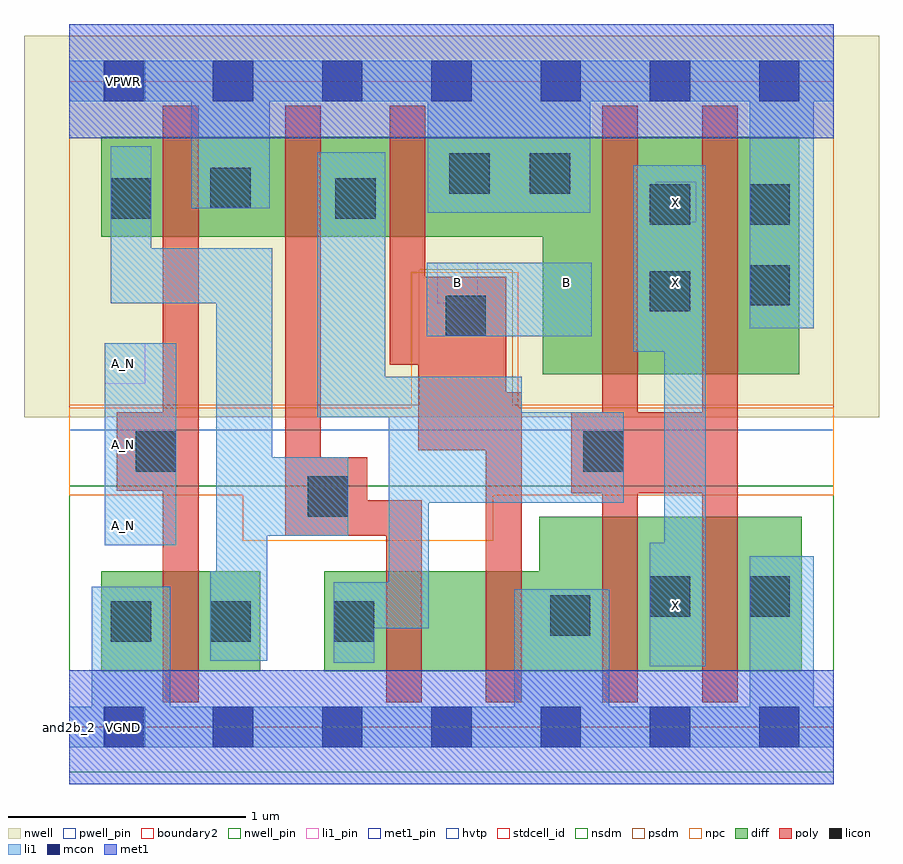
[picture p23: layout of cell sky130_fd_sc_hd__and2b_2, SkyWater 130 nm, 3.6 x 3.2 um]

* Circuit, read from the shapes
.subckt sky130_fd_sc_hd__and2b_2 A_N B VGND VNB VPB VPWR X
XM1 n1 A_N VGND VNB sky130_fd_pr__nfet_01v8 w=0.42 l=0.15
XM2 n2 n1 n3 VNB sky130_fd_pr__nfet_01v8 w=0.42 l=0.15
XM3 VGND B n2 VNB sky130_fd_pr__nfet_01v8 w=0.42 l=0.15
XM4 X n3 VGND VNB sky130_fd_pr__nfet_01v8 w=0.65 l=0.15 m=2
XM5 VPWR A_N n1 VPB sky130_fd_pr__pfet_01v8_hvt w=0.42 l=0.15
XM6 n3 n1 VPWR VPB sky130_fd_pr__pfet_01v8_hvt w=0.42 l=0.15
XM7 VPWR B n3 VPB sky130_fd_pr__pfet_01v8_hvt w=0.42 l=0.15
XM8 X n3 VPWR VPB sky130_fd_pr__pfet_01v8_hvt w=1 l=0.15 m=2
.ends

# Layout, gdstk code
import gdstk
lib = gdstk.Library(unit=1e-6, precision=1e-09)
def R(c, l, rs):  # rectangles x0, y0, x1, y1
    for r in rs: c.add(gdstk.rectangle(r[:2], r[2:], *l))
def A(c, l, x, y, w, h, nx, ny, dx, dy):  # array of equal rectangles
    R(c, l, [(x+i*dx, y+j*dy, x+i*dx+w, y+j*dy+h) for i in range(nx) for j in range(ny)])
def P(c, l, *ps):  # polygons
    for p in ps: c.add(gdstk.Polygon(p, *l))
nwell_pin = (64, 16)
nwell = (64, 20)
diff = (65, 20)
poly = (66, 20)
licon = (66, 44)
li1_pin = (67, 16)
li1 = (67, 20)
mcon = (67, 44)
met1_pin = (68, 16)
met1 = (68, 20)
hvtp = (78, 44)
stdcell_id = (81, 4)
nsdm = (93, 44)
psdm = (94, 20)
npc = (95, 20)
pwell_pin = (122, 16)
boundary2 = (236, 0)

sky130_fd_sc_hd__and2b_2 = lib.new_cell('sky130_fd_sc_hd__and2b_2')
R(sky130_fd_sc_hd__and2b_2, nwell_pin, [(0.15,2.635,0.32,2.805)])
R(sky130_fd_sc_hd__and2b_2, nwell, [(-0.19,1.305,3.41,2.91)])
R(sky130_fd_sc_hd__and2b_2, diff, [(0.135,0.235,0.805,0.655)])
P(sky130_fd_sc_hd__and2b_2, diff, [(1.075,0.235),(1.075,0.655),(1.98,0.655),(1.98,0.885),(3.085,0.885),(3.085,0.235)],
  [(1.995,1.485),(1.995,2.065),(0.135,2.065),(0.135,2.485),(3.075,2.485),(3.075,1.485)])
P(sky130_fd_sc_hd__and2b_2, poly, [(1.755,0.105),(1.755,1.165),(1.47,1.165),(1.47,1.525),(1.35,1.525),(1.35,2.615),(1.5,2.615),(1.5,1.895),(1.84,1.895),(1.84,1.41),(1.905,1.41),(1.905,0.105)],
  [(1.335,0.105),(1.335,0.805),(0.91,0.805),(0.91,2.615),(1.06,2.615),(1.06,1.135),(1.255,1.135),(1.255,0.955),(1.485,0.955),(1.485,0.105)],
  [(2.245,0.105),(2.245,0.985),(2.115,0.985),(2.115,1.325),(2.245,1.325),(2.245,2.615),(2.395,2.615),(2.395,1.325),(2.665,1.325),(2.665,2.615),(2.815,2.615),(2.815,0.105),(2.665,0.105),(2.665,0.985),(2.395,0.985),(2.395,0.105)],
  [(0.395,0.105),(0.395,0.995),(0.2,0.995),(0.2,1.325),(0.395,1.325),(0.395,2.615),(0.545,2.615),(0.545,0.105)])
R(sky130_fd_sc_hd__and2b_2, licon, [(0.175,0.36,0.345,0.53), (0.595,0.36,0.765,0.53), (1.115,0.36,1.285,0.53), (2.025,0.385,2.195,0.555), (2.445,0.465,2.615,0.635), (2.865,0.465,3.035,0.635), (1.005,0.885,1.175,1.055), (0.28,1.075,0.45,1.245), (2.165,1.075,2.335,1.245), (1.585,1.645,1.755,1.815), (2.445,1.75,2.615,1.92), (2.865,1.775,3.035,1.945), (2.445,2.115,2.615,2.285), (2.865,2.115,3.035,2.285), (0.175,2.14,0.345,2.31), (1.12,2.14,1.29,2.31), (0.595,2.185,0.765,2.355), (1.6,2.245,1.77,2.415), (1.94,2.245,2.11,2.415)])
R(sky130_fd_sc_hd__and2b_2, li1_pin, [(0.15,1.445,0.32,1.615), (1.55,1.785,1.72,1.955), (2.47,2.125,2.64,2.295)])
R(sky130_fd_sc_hd__and2b_2, li1, [(0.15,0.765,0.45,1.615), (1.505,1.645,2.2,1.955)])
P(sky130_fd_sc_hd__and2b_2, li1, [(2.445,0.255),(2.445,0.775),(2.505,0.775),(2.505,1.58),(2.375,1.58),(2.375,2.365),(2.68,2.365),(2.68,0.255)],
  [(0.595,0.28),(0.595,0.655),(0.62,0.655),(0.62,1.785),(0.175,1.785),(0.175,2.445),(0.345,2.445),(0.345,2.015),(0.855,2.015),(0.855,1.135),(1.175,1.135),(1.175,0.805),(0.835,0.805),(0.835,0.28)],
  [(2.865,1.68),(2.865,2.635),(2.195,2.635),(2.195,2.165),(1.51,2.165),(1.51,2.635),(0.845,2.635),(0.845,2.185),(0.515,2.185),(0.515,2.635),(0,2.635),(0,2.805),(3.22,2.805),(3.22,2.635),(3.135,2.635),(3.135,1.68)],
  [(1.115,0.27),(1.115,0.61),(1.345,0.61),(1.345,1.305),(1.045,1.305),(1.045,2.42),(1.33,2.42),(1.33,1.475),(1.905,1.475),(1.905,1.325),(2.335,1.325),(2.335,0.945),(1.515,0.945),(1.515,0.415),(1.285,0.415),(1.285,0.27)],
  [(0,-0.085),(0,0.085),(0.095,0.085),(0.095,0.59),(0.425,0.59),(0.425,0.085),(1.875,0.085),(1.875,0.58),(2.275,0.58),(2.275,0.085),(2.865,0.085),(2.865,0.72),(3.135,0.72),(3.135,0.085),(3.22,0.085),(3.22,-0.085)])
A(sky130_fd_sc_hd__and2b_2, mcon, 0.145, -0.085, 0.17, 0.17, 7, 2, 0.46, 2.72)
R(sky130_fd_sc_hd__and2b_2, met1_pin, [(0.15,-0.085,0.32,0.085), (0.15,2.635,0.32,2.805)])
R(sky130_fd_sc_hd__and2b_2, hvtp, [(0,1.25,3.22,2.72)])
R(sky130_fd_sc_hd__and2b_2, stdcell_id, [(0,0,3.22,2.72)])
R(sky130_fd_sc_hd__and2b_2, nsdm, [(0,-0.19,3.22,1.015)])
P(sky130_fd_sc_hd__and2b_2, psdm, [(0,1.355),(0,2.91),(3.22,2.91),(3.22,1.355),(1.865,1.355),(1.865,1.925),(1.475,1.925),(1.475,1.355)])
P(sky130_fd_sc_hd__and2b_2, npc, [(0.73,0.785),(0.73,0.975),(0,0.975),(0,1.345),(1.44,1.345),(1.44,1.915),(1.89,1.915),(1.89,1.345),(3.22,1.345),(3.22,0.975),(1.785,0.975),(1.785,0.785)])
R(sky130_fd_sc_hd__and2b_2, pwell_pin, [(0.15,-0.085,0.32,0.085)])
R(sky130_fd_sc_hd__and2b_2, boundary2, [(0,0,3.22,2.72)])
sky130_fd_sc_hd__and2b_2.add(gdstk.FlexPath([(0,0),(3.22,0)], 0.48, ends="flush", simple_path=True, layer=68, datatype=20))  # met1
sky130_fd_sc_hd__and2b_2.add(gdstk.FlexPath([(0,2.72),(3.22,2.72)], 0.48, ends="flush", simple_path=True, layer=68, datatype=20))  # met1
sky130_fd_sc_hd__and2b_2.add(gdstk.Label('VGND', (0.23,0), layer=68, texttype=5))
sky130_fd_sc_hd__and2b_2.add(gdstk.Label('VPWR', (0.23,2.72), layer=68, texttype=5))
sky130_fd_sc_hd__and2b_2.add(gdstk.Label('VPB', (0.235,2.72), layer=64, texttype=5))
sky130_fd_sc_hd__and2b_2.add(gdstk.Label('VNB', (0.235,0), layer=64, texttype=59))
sky130_fd_sc_hd__and2b_2.add(gdstk.Label('and2b_2', (0,0), layer=83, texttype=44))
sky130_fd_sc_hd__and2b_2.add(gdstk.Label('A_N', (0.23,0.85), layer=67, texttype=5))
sky130_fd_sc_hd__and2b_2.add(gdstk.Label('A_N', (0.23,1.19), layer=67, texttype=5))
sky130_fd_sc_hd__and2b_2.add(gdstk.Label('A_N', (0.23,1.53), layer=67, texttype=5))
sky130_fd_sc_hd__and2b_2.add(gdstk.Label('B', (1.635,1.87), layer=67, texttype=5))
sky130_fd_sc_hd__and2b_2.add(gdstk.Label('B', (2.095,1.87), layer=67, texttype=5))
sky130_fd_sc_hd__and2b_2.add(gdstk.Label('X', (2.555,0.51), layer=67, texttype=5))
sky130_fd_sc_hd__and2b_2.add(gdstk.Label('X', (2.555,1.87), layer=67, texttype=5))
sky130_fd_sc_hd__and2b_2.add(gdstk.Label('X', (2.555,2.21), layer=67, texttype=5))

lib.write_gds('sky130_fd_sc_hd__and2b_2.gds')
